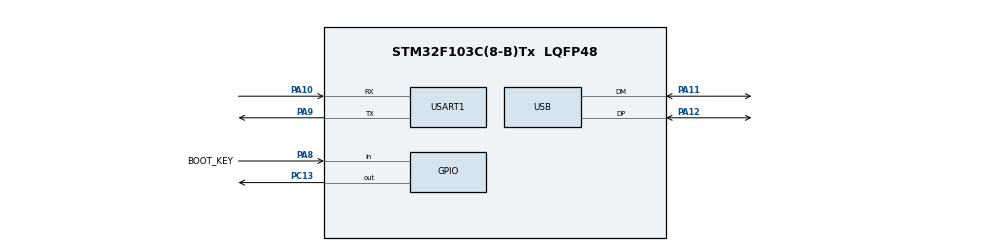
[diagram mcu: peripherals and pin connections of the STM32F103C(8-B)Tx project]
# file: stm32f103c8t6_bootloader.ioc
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Mcu.Family=STM32F1
Mcu.Name=STM32F103C(8-B)Tx
Mcu.Package=LQFP48
NVIC.PriorityGroup=NVIC_PRIORITYGROUP_4
NVIC.USB_LP_CAN1_RX0_IRQn=true\:0\:0\:false\:false\:true\:false\:true\:true
PA10.Mode=Asynchronous
PA10.Signal=USART1_RX
PA11.Mode=Device
PA11.Signal=USB_DM
PA12.Mode=Device
PA12.Signal=USB_DP
PA13.Mode=Serial_Wire
PA13.Signal=SYS_JTMS-SWDIO
PA14.Mode=Serial_Wire
PA14.Signal=SYS_JTCK-SWCLK
PA8.GPIO_Label=BOOT_KEY
PA8.GPIO_PuPd=GPIO_PULLUP
PA8.Signal=GPIO_Input
PA9.Mode=Asynchronous
PA9.Signal=USART1_TX
PC13-TAMPER-RTC.GPIO_ModeDefaultOutputPP=GPIO_MODE_OUTPUT_PP
PC13-TAMPER-RTC.GPIO_PuPd=GPIO_PULLUP
PC13-TAMPER-RTC.PinState=GPIO_PIN_RESET
PC13-TAMPER-RTC.Signal=GPIO_Output
PD0-OSC_IN.Mode=HSE-External-Oscillator
PD0-OSC_IN.Signal=RCC_OSC_IN
PD1-OSC_OUT.Mode=HSE-External-Oscillator
PD1-OSC_OUT.Signal=RCC_OSC_OUT
ProjectManager.HeapSize=0x200
ProjectManager.StackSize=0x800
ProjectManager.TargetToolchain=MDK-ARM V5
RCC.AHBFreq_Value=48000000
RCC.APB1CLKDivider=RCC_HCLK_DIV2
RCC.APB1Freq_Value=24000000
RCC.APB1TimFreq_Value=48000000
RCC.APB2Freq_Value=48000000
RCC.APB2TimFreq_Value=48000000
RCC.HCLKFreq_Value=48000000
RCC.PLLMUL=RCC_PLL_MUL6
RCC.SYSCLKFreq_VALUE=48000000
RCC.SYSCLKSource=RCC_SYSCLKSOURCE_PLLCLK
RCC.USBFreq_Value=48000000
USART1.VirtualMode=VM_ASYNC
USB_DEVICE.CLASS_NAME_FS=MSC
USB_DEVICE.VirtualMode=Msc
USB_DEVICE.VirtualModeFS=Msc_FS
VP_USB_DEVICE_VS_USB_DEVICE_MSC_FS.Mode=MSC_FS
board=custom

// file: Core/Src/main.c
/* USER CODE BEGIN Header */
/**
  ******************************************************************************
  * @file           : main.c
  * @brief          : Main program body
  ******************************************************************************
  * @attention
  *
  * <h2><center>&copy; Copyright (c) 2024 STMicroelectronics.
  * All rights reserved.</center></h2>
  *
  * This software component is licensed by ST under BSD 3-Clause license,
  * the "License"; You may not use this file except in compliance with the
  * License. You may obtain a copy of the License at:
  *                        opensource.org/licenses/BSD-3-Clause
  *
  ******************************************************************************
  */
/* USER CODE END Header */
#include "main.h"
#include "usart.h"
#include "usb_device.h"
#include "gpio.h"

/* USER CODE BEGIN Includes */
#include <stdint.h>
#include <stdio.h>
#include <stdbool.h>
#include "btldr_config.h"
#include "crypt.h"
#include "ihex_parser.h"
#include "crc.h"
#include "fat32.h"
/* USER CODE END Includes */

void SystemClock_Config(void);

/* USER CODE BEGIN 0 */

void SoftReset(void)
{
	__set_FAULTMASK(1);
	NVIC_SystemReset();
}

int fputc(int ch, FILE* stream)
{
	//USART_SendData(USART1, (unsigned char) ch);
	//while (!(USART1->SR & USART_FLAG_TXE));
	HAL_UART_Transmit(&huart1,(uint8_t *)&ch,1,0xFFF);
	return ch;
}

#if (BTLDR_ACT_NoAppExist > 0u)
bool is_appcode_exist(void)
{
  uint32_t *mem = (uint32_t*)APP_ADDR;

    return false;
  if ((mem[0] == 0x00000000 || mem[0] == 0xFFFFFFFF) && \
      (mem[1] == 0x00000000 || mem[1] == 0xFFFFFFFF) && \
      (mem[2] == 0x00000000 || mem[2] == 0xFFFFFFFF) && \
      (mem[3] == 0x00000000 || mem[3] == 0xFFFFFFFF))
  {
    return false;
  }
  else
  {
    return true;
  }
}
#endif

#if (BTLDR_ACT_CksNotVld > 0u)
bool app_cks_valid(void)
{
	uint32_t app_crc32 = 0;

	/* calculate CRC32 checksum from start of main application until CRC32 location */
	app_crc32 = crc32_calculate((const uint8_t *)APP_ADDR, (CRC_ADDR-APP_ADDR));

	/* compare self calculated CRC32 with CRC32 stored in flash */
	return (app_crc32 == *((uint32_t*)(CRC_ADDR)));
}
#endif

#if (BTLDR_ACT_ButtonPress > 0u)
bool is_button_down(void)
{
    //return !(LL_GPIO_IsInputPinSet(BTLDR_EN_GPIO_Port, BTLDR_EN_Pin) );
	return 0;
}
#endif

#if (BTLDR_ACT_BootkeyDet > 0u)

volatile __attribute__((section("._bootkey_section.btldr_act_req_key"))) uint32_t btldr_act_req_key;
bool bootkey_detected(void){
    return(btldr_act_req_key == BOOTKEY);
}
#endif

extern PCD_HandleTypeDef hpcd_USB_FS;

void SystemReset(void){
    LL_mDelay(500);

    HAL_PCD_Stop(&hpcd_USB_FS);

    /* Pull USB D+ PIN to GND so USB Host detects device disconnect */
    LL_GPIO_SetPinMode(GPIOA,LL_GPIO_PIN_12, LL_GPIO_MODE_OUTPUT);
    LL_GPIO_SetPinSpeed(GPIOA, LL_GPIO_PIN_12, LL_GPIO_SPEED_FREQ_LOW);
    LL_GPIO_SetPinOutputType(GPIOA,LL_GPIO_PIN_12, LL_GPIO_OUTPUT_PUSHPULL);
    LL_GPIO_ResetOutputPin(GPIOA, LL_GPIO_PIN_12);

    LL_mDelay(1000);

    NVIC_SystemReset();
}

static void usb_discon(void)
{

	LL_GPIO_SetPinMode(GPIOA,LL_GPIO_PIN_12, LL_GPIO_MODE_OUTPUT);
	LL_GPIO_SetPinSpeed(GPIOA, LL_GPIO_PIN_12, LL_GPIO_SPEED_FREQ_LOW);
	LL_GPIO_SetPinOutputType(GPIOA,LL_GPIO_PIN_12, LL_GPIO_OUTPUT_PUSHPULL);
	LL_GPIO_ResetOutputPin(GPIOA, LL_GPIO_PIN_12);

	LL_mDelay(1000);
}

typedef void (*jump_callback)(void);
uint8_t jump_app(uint32_t app_addr)
{
    uint32_t jump_addr;
    jump_callback cb;
    if (((*(__IO uint32_t*)app_addr) & 0x2FFE0000 ) == 0x20000000) {
        jump_addr = *(__IO uint32_t*) (app_addr + 4);
        cb = (jump_callback)jump_addr;
        __set_MSP(*(__IO uint32_t*)app_addr);
        cb();
        return 1;
    }
    return 0;
}
/* USER CODE END 0 */

int main(void)
{
  /* USER CODE BEGIN 1 */

  static uint32_t jump_addr;
  /* USER CODE END 1 */

  /* MCU Configuration--------------------------------------------------------*/

  /* Reset of all peripherals, Initializes the Flash interface and the Systick. */
  HAL_Init();

  /* Configure the system clock */
  SystemClock_Config();

  /* USER CODE BEGIN SysInit */
   goto DRV_INIT;
  /* USER CODE END SysInit */

  /* Initialize all configured peripherals */
  MX_GPIO_Init();
  MX_USB_DEVICE_Init();
  MX_USART1_UART_Init();
  /* USER CODE BEGIN 2 */

  DRV_INIT:
  {
	MX_GPIO_Init();
	MX_USART1_UART_Init();
  }

 if(IAP_CheckAPP() == 0 || Get_BootKey_Status() == 0)
  {
	printf("iap start \r\n");
#if(CONFIG_SUPPORT_CRYPT_MODE > 0u)
    crypt_init();//
#endif
	usb_discon();
    MX_USB_DEVICE_Init();
	 uint32_t time_cnt = 0;
    while(1)
    {
#if (CONFIG_SOFT_RESET_AFTER_IHEX_EOF > 0u)
      if (ihex_is_eof())
	  {
		    LL_mDelay(500);
			IAP_SetFWInfo();
		    LL_mDelay(500);
			SystemReset();
      }

#endif
    }
  }
  else
  {

APP_START:
    // Jump to the app code

	printf("app start \r\n");
#if 1

   LL_RCC_SetSysClkSource(LL_RCC_SYS_CLKSOURCE_HSI);
   while(LL_RCC_GetSysClkSource() != LL_RCC_SYS_CLKSOURCE_STATUS_HSI);
 #endif
	jump_app(APP_ADDR);

	printf("???? \r\n");
  }
  /* USER CODE END 2 */

  /* Infinite loop */
  while (1)
  {

  }
}

void SystemClock_Config(void)
{
  LL_FLASH_SetLatency(LL_FLASH_LATENCY_1);
  while(LL_FLASH_GetLatency()!= LL_FLASH_LATENCY_1)
  {
  }
  LL_RCC_HSE_Enable();

   /* Wait till HSE is ready */
  while(LL_RCC_HSE_IsReady() != 1)
  {

  }
  LL_RCC_PLL_ConfigDomain_SYS(LL_RCC_PLLSOURCE_HSE_DIV_1, LL_RCC_PLL_MUL_6);
  LL_RCC_PLL_Enable();

   /* Wait till PLL is ready */
  while(LL_RCC_PLL_IsReady() != 1)
  {

  }
  LL_RCC_SetAHBPrescaler(LL_RCC_SYSCLK_DIV_1);
  LL_RCC_SetAPB1Prescaler(LL_RCC_APB1_DIV_2);
  LL_RCC_SetAPB2Prescaler(LL_RCC_APB2_DIV_1);
  LL_RCC_SetSysClkSource(LL_RCC_SYS_CLKSOURCE_PLL);

   /* Wait till System clock is ready */
  while(LL_RCC_GetSysClkSource() != LL_RCC_SYS_CLKSOURCE_STATUS_PLL)
  {

  }
  LL_SetSystemCoreClock(48000000);

   /* Update the time base */
  if (HAL_InitTick (TICK_INT_PRIORITY) != HAL_OK)
  {
    Error_Handler();
  }
  LL_RCC_SetUSBClockSource(LL_RCC_USB_CLKSOURCE_PLL);
}

void Error_Handler(void)
{
  __disable_irq();
  while (1)
  {
  }
}
